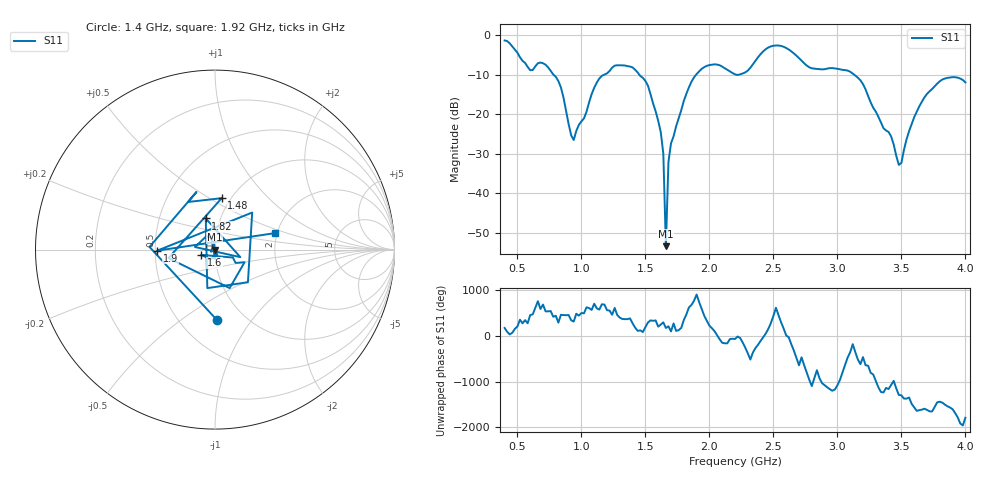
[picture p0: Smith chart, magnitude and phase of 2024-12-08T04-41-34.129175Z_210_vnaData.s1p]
!Created with skrf (http://scikit-rf.org).
# Hz S RI R 50.0
!freq ReS11 ImS11
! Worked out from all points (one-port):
!   181 points, 400 MHz to 4 GHz, reference 50 ohm
!   lowest |S11| = -53.4 dB at 1.66 GHz (marker M1), VSWR 1.00, Z = 49.8 + j0.0343 ohm
!   |S11| at or under -10 dB: 782.1 MHz to 1.177 GHz (394.8 MHz wide, 40.3 % of centre); 1.453 GHz to 1.896 GHz (443.5 MHz wide, 26.5 % of centre); 3.131 GHz to end of sweep (the widest 3 of 4)
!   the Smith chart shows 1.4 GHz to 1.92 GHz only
!   S11 on the Smith chart (normalised r, x): 1.4 GHz: 0.75, -0.69; 1.48 GHz: 0.91, +0.57; 1.6 GHz: 0.86, -0.05; 1.82 GHz: 0.85, +0.31; 1.9 GHz: 0.51, -0.01; 1.92 GHz: 1.96, +0.41
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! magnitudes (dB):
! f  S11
! 400 MHz  -1.3
! 600 MHz  -8.9
! 720 MHz  -7.5
! 860 MHz  -15.8
! 940 MHz  -26.5
! 1.12 GHz  -12.0
! 1.3 GHz  -7.6
! 1.4 GHz  -8.2
! 1.48 GHz  -10.8
! 1.6 GHz  -21.7
! 1.64 GHz  -30.0
! 1.66 GHz  -53.4
! 1.68 GHz  -32.1
! 1.76 GHz  -21.0
! 1.82 GHz  -14.8
! 1.9 GHz  -9.8
! 1.92 GHz  -9.1
! 2.2 GHz  -9.9
! 2.48 GHz  -2.8
! 2.66 GHz  -4.6
! 2.8 GHz  -8.4
! 3.1 GHz  -9.3
! 3.42 GHz  -25.6
! 3.48 GHz  -32.8
! 3.56 GHz  -24.3
! 3.68 GHz  -15.7
! 3.8 GHz  -11.7
! 4 GHz  -11.9
